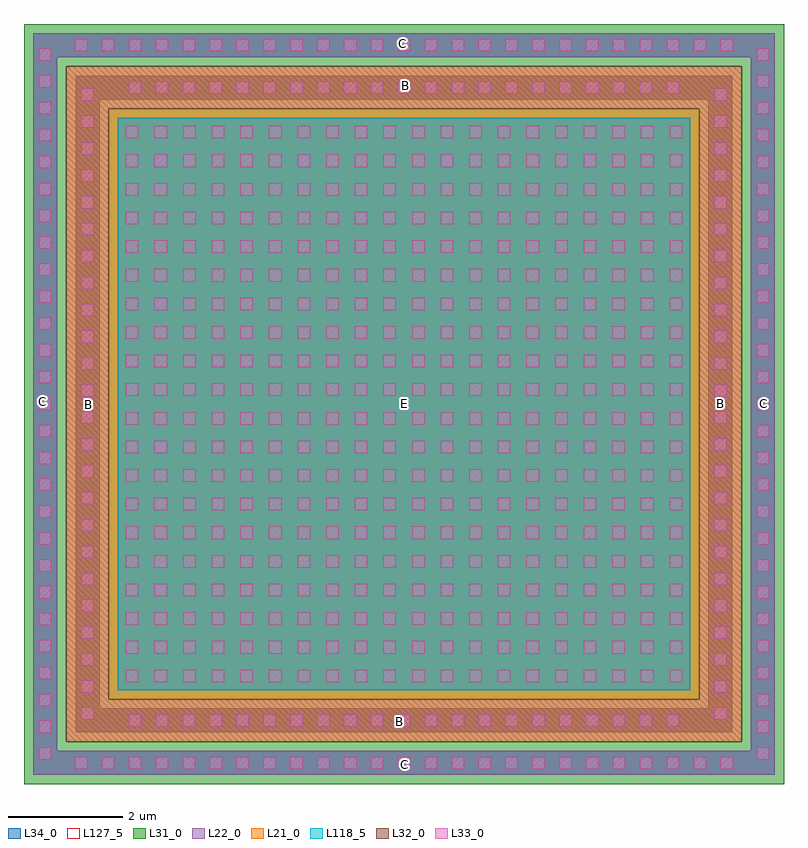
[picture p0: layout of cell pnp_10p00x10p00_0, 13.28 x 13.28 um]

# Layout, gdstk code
import gdstk
lib = gdstk.Library(unit=1e-6, precision=1e-09)
def R(c, l, rs):  # rectangles x0, y0, x1, y1
    for r in rs: c.add(gdstk.rectangle(r[:2], r[2:], *l))
def A(c, l, x, y, w, h, nx, ny, dx, dy):  # array of equal rectangles
    R(c, l, [(x+i*dx, y+j*dy, x+i*dx+w, y+j*dy+h) for i in range(nx) for j in range(ny)])
def P(c, l, *ps):  # polygons
    for p in ps: c.add(gdstk.Polygon(p, *l))
L21_0 = (21, 0)
L22_0 = (22, 0)
L31_0 = (31, 0)
L32_0 = (32, 0)
L33_0 = (33, 0)
L34_0 = (34, 0)
L118_5 = (118, 5)
L127_5 = (127, 5)

pnp_10p00x10p00_0 = lib.new_cell('pnp_10p00x10p00_0')
R(pnp_10p00x10p00_0, L21_0, [(-5.9,-5.9,5.9,5.9)])
R(pnp_10p00x10p00_0, L22_0, [(-5,-5,5,5)])
P(pnp_10p00x10p00_0, L22_0, [(-5.74,-5.74),(-5.74,5.74),(5.32,5.74),(5.32,5.32),(-5.32,5.32),(-5.32,-5.32),(5.32,-5.32),(5.32,5.74),(5.74,5.74),(5.74,-5.74)],
  [(-6.48,-6.48),(-6.48,6.48),(6.06,6.48),(6.06,6.06),(-6.06,6.06),(-6.06,-6.06),(6.06,-6.06),(6.06,6.48),(6.48,6.48),(6.48,-6.48)])
R(pnp_10p00x10p00_0, L31_0, [(-5.16,-5.16,5.16,5.16)])
P(pnp_10p00x10p00_0, L31_0, [(-6.64,-6.64),(-6.64,6.64),(5.9,6.64),(5.9,5.9),(-5.9,5.9),(-5.9,-5.9),(5.9,-5.9),(5.9,6.64),(6.64,6.64),(6.64,-6.64)])
P(pnp_10p00x10p00_0, L32_0, [(-5.9,-5.9),(-5.9,5.9),(5.16,5.9),(5.16,5.16),(-5.16,5.16),(-5.16,-5.16),(5.16,-5.16),(5.16,5.9),(5.9,5.9),(5.9,-5.9)])
A(pnp_10p00x10p00_0, L33_0, -5.75, -6.38, 0.22, 0.22, 25, 2, 0.47, 12.54)
A(pnp_10p00x10p00_0, L33_0, -6.38, -6.22, 0.22, 0.22, 1, 27, 0, 0.47)
A(pnp_10p00x10p00_0, L33_0, 6.16, -6.22, 0.22, 0.22, 1, 27, 0, 0.47)
A(pnp_10p00x10p00_0, L33_0, -4.81, -5.64, 0.22, 0.22, 21, 2, 0.47, 11.06)
A(pnp_10p00x10p00_0, L33_0, -5.64, -5.515, 0.22, 0.22, 1, 24, 0, 0.47)
A(pnp_10p00x10p00_0, L33_0, 5.42, -5.515, 0.22, 0.22, 1, 24, 0, 0.47)
A(pnp_10p00x10p00_0, L33_0, -4.86, -4.86, 0.22, 0.22, 20, 20, 0.5, 0.5)
R(pnp_10p00x10p00_0, L34_0, [(-6.48,-6.48,6.48,-6.06), (-6.48,-6.48,-6.06,6.48), (6.06,-6.48,6.48,6.48), (-5.74,-5.74,5.74,-5.32), (-5.74,-5.74,-5.32,5.74), (5.32,-5.74,5.74,5.74), (-5,-5,5,5), (-5,-5,5,5), (-5.74,5.32,5.74,5.74), (-6.48,6.06,6.48,6.48)])
P(pnp_10p00x10p00_0, L34_0, [(-5.74,-5.74),(-5.74,5.74),(5.32,5.74),(5.32,5.32),(-5.32,5.32),(-5.32,-5.32),(5.32,-5.32),(5.32,5.74),(5.74,5.74),(5.74,-5.74)],
  [(-6.48,-6.48),(-6.48,6.48),(6.06,6.48),(6.06,6.06),(-6.06,6.06),(-6.06,-6.06),(6.06,-6.06),(6.06,6.48),(6.48,6.48),(6.48,-6.48)])
R(pnp_10p00x10p00_0, L118_5, [(-5,-5,5,5)])
R(pnp_10p00x10p00_0, L127_5, [(-6.64,-6.64,6.64,6.64)])
pnp_10p00x10p00_0.add(gdstk.Label('E', (0,0.01), layer=34, texttype=0))
pnp_10p00x10p00_0.add(gdstk.Label('B', (0.025,5.565), layer=34, texttype=0))
pnp_10p00x10p00_0.add(gdstk.Label('B', (5.53,0.01), layer=34, texttype=0))
pnp_10p00x10p00_0.add(gdstk.Label('B', (-0.075,-5.545), layer=34, texttype=0))
pnp_10p00x10p00_0.add(gdstk.Label('B', (-5.505,-0.01), layer=34, texttype=0))
pnp_10p00x10p00_0.add(gdstk.Label('C', (-0.025,6.3), layer=34, texttype=0))
pnp_10p00x10p00_0.add(gdstk.Label('C', (6.29,0.01), layer=34, texttype=0))
pnp_10p00x10p00_0.add(gdstk.Label('C', (0,-6.3), layer=34, texttype=0))
pnp_10p00x10p00_0.add(gdstk.Label('C', (-6.315,0.035), layer=34, texttype=0))

lib.write_gds('pnp_10p00x10p00_0.gds')
